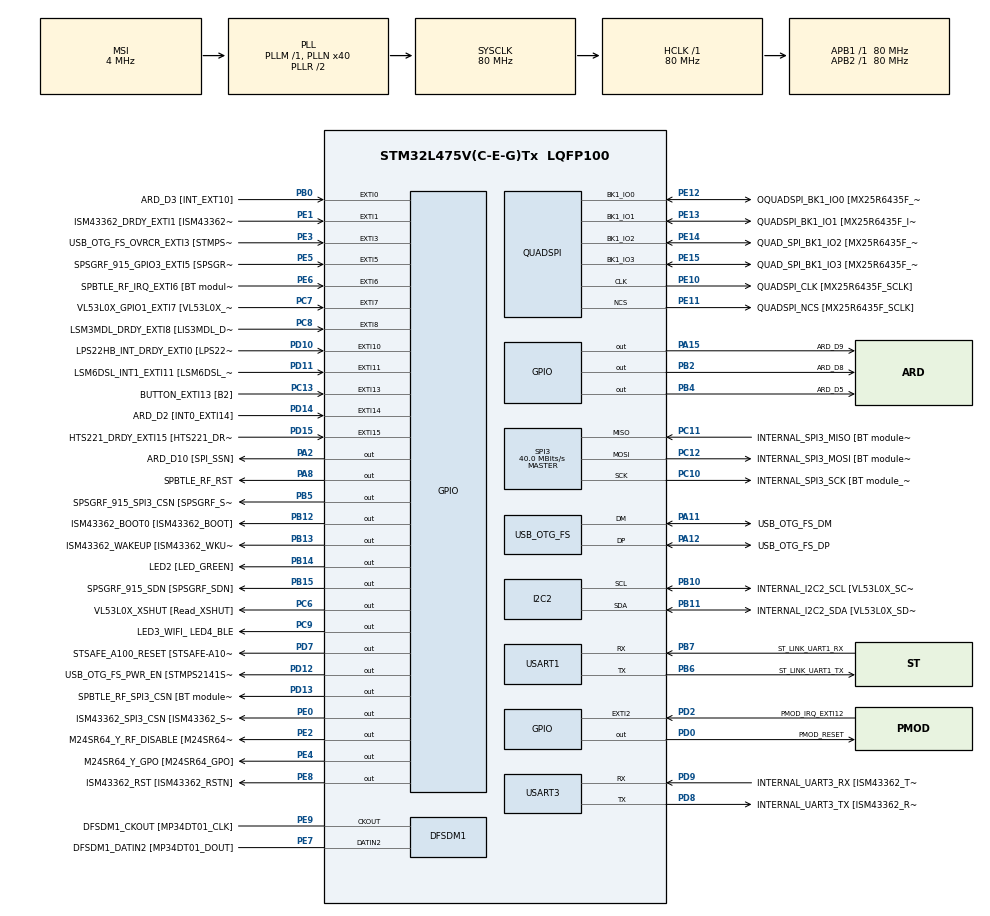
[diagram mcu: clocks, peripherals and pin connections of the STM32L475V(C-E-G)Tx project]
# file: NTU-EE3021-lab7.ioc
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Mcu.Family=STM32L4
Mcu.Name=STM32L475V(C-E-G)Tx
Mcu.Package=LQFP100
NVIC.EXTI15_10_IRQn=true\:0\:0\:false\:false\:true\:true\:true\:true
NVIC.EXTI9_5_IRQn=true\:0\:0\:false\:false\:true\:true\:true\:true
NVIC.PriorityGroup=NVIC_PRIORITYGROUP_4
PA0.GPIO_Label=ARD_D1 [UART4_TX]
PA0.Signal=UART4_TX
PA1.GPIO_Label=ARD_D0 [UART4_RX]
PA1.Signal=UART4_RX
PA10.GPIO_Label=USB_OTG_FS_ID
PA10.Signal=USB_OTG_FS_ID
PA11.GPIO_Label=USB_OTG_FS_DM
PA11.Mode=Device_Only
PA11.Signal=USB_OTG_FS_DM
PA12.GPIO_Label=USB_OTG_FS_DP
PA12.Mode=Device_Only
PA12.Signal=USB_OTG_FS_DP
PA13\ (JTMS-SWDIO).GPIO_Label=SYS_JTMS_SWDIO
PA13\ (JTMS-SWDIO).Mode=Serial_Wire
PA13\ (JTMS-SWDIO).Signal=SYS_JTMS-SWDIO
PA14\ (JTCK-SWCLK).GPIO_Label=SYS_JTCK_SWCLK
PA14\ (JTCK-SWCLK).Mode=Serial_Wire
PA14\ (JTCK-SWCLK).Signal=SYS_JTCK-SWCLK
PA15\ (JTDI).GPIO_Label=ARD_D9
PA15\ (JTDI).Signal=GPIO_Output
PA2.GPIO_Label=ARD_D10 [SPI_SSN]
PA2.Signal=GPIO_Output
PA3.GPIO_Label=ARD_D4
PA3.Signal=S_TIM2_CH4
PA4.GPIO_Label=ARD_D7
PA4.Signal=ADCx_IN9
PA5.GPIO_Label=ARD_D13 [SPI1_SCK]
PA5.Signal=SPI1_SCK
PA6.GPIO_Label=ARD_D12 [SPI1_MISO]
PA6.Signal=SPI1_MISO
PA7.GPIO_Label=ARD_D11 [SPI1_MOSI]
PA7.Signal=SPI1_MOSI
PA8.GPIO_Label=SPBTLE_RF_RST
PA8.Signal=GPIO_Output
PA9.GPIO_Label=USB_OTG_FS_VBUS [STMPS2141STR_OUT]
PA9.Signal=USB_OTG_FS_VBUS
PB0.GPIO_Label=ARD_D3 [INT_EXT10]
PB0.Signal=GPXTI0
PB1.GPIO_Label=ARD_D6 [ADC1_IN6]
PB1.Signal=ADCx_IN16
PB10.GPIO_Label=INTERNAL_I2C2_SCL [VL53L0X_SCL]
PB10.GPIO_Pu=GPIO_PULLUP
PB10.Mode=I2C
PB10.Signal=I2C2_SCL
PB11.GPIO_Label=INTERNAL_I2C2_SDA [VL53L0X_SDA]
PB11.GPIO_Pu=GPIO_PULLUP
PB11.Mode=I2C
PB11.Signal=I2C2_SDA
PB12.GPIO_Label=ISM43362_BOOT0 [ISM43362_BOOT]
PB12.Signal=GPIO_Output
PB13.GPIO_Label=ISM43362_WAKEUP [ISM43362_WKUP]
PB13.Signal=GPIO_Output
PB14.GPIO_Label=LED2 [LED_GREEN]
PB14.Signal=GPIO_Output
PB15.GPIO_Label=SPSGRF_915_SDN [SPSGRF_SDN]
PB15.Signal=GPIO_Output
PB2.GPIO_Label=ARD_D8
PB2.Signal=GPIO_Output
PB3\ (JTDO-TRACESWO).GPIO_Label=SYS_JTD0_SWO
PB3\ (JTDO-TRACESWO).Signal=SYS_JTDO-SWO
PB4\ (NJTRST).GPIO_Label=ARD_D5
PB4\ (NJTRST).Signal=GPIO_Output
PB5.GPIO_Label=SPSGRF_915_SPI3_CSN [SPSGRF_SPI_CS]
PB5.PinState=GPIO_PIN_SET
PB5.Signal=GPIO_Output
PB6.GPIO_Label=ST_LINK_UART1_TX
PB6.Mode=Asynchronous
PB6.Signal=USART1_TX
PB7.GPIO_Label=ST_LINK_UART1_RX
PB7.Mode=Asynchronous
PB7.Signal=USART1_RX
PB8.GPIO_Label=ARD_D15 [I2C1_SCL]
PB8.Signal=I2C1_SCL
PB9.GPIO_Label=ARD_D14 [I2C1_SDA]
PB9.Signal=I2C1_SDA
PC0.GPIO_Label=ARD_A5 [ADC]
PC0.Signal=ADCx_IN1
PC1.GPIO_Label=ARD_A4 [ADC]
PC1.Signal=ADCx_IN2
PC10.GPIO_Label=INTERNAL_SPI3_SCK [BT module_SPI_SCLK] [ISM43362_SCK]
PC10.Mode=Full_Duplex_Master
PC10.Signal=SPI3_SCK
PC11.GPIO_Label=INTERNAL_SPI3_MISO [BT module_SPI_MISO] [ISM43362_MISO]
PC11.Mode=Full_Duplex_Master
PC11.Signal=SPI3_MISO
PC12.GPIO_Label=INTERNAL_SPI3_MOSI [BT module_SPI_MOSI] [ISM43362_MOSI]
PC12.Mode=Full_Duplex_Master
PC12.Signal=SPI3_MOSI
PC13.GPIO_Label=BUTTON_EXTI13 [B2]
PC13.GPIO_ModeDefaultEXTI=GPIO_MODE_IT_FALLING
PC13.Signal=GPXTI13
PC14-OSC32_IN\ (PC14).Mode=LSE-External-Oscillator
PC14-OSC32_IN\ (PC14).Signal=RCC_OSC32_IN
PC15-OSC32_OUT\ (PC15).Mode=LSE-External-Oscillator
PC15-OSC32_OUT\ (PC15).Signal=RCC_OSC32_OUT
PC2.GPIO_Label=ARD_A3 [ADC]
PC2.Signal=ADCx_IN3
PC3.GPIO_Label=ARD_A2 [ADC]
PC3.Signal=ADCx_IN4
PC4.GPIO_Label=ARD_A1 [ADC]
PC4.Signal=ADCx_IN13
PC5.GPIO_Label=ARD_A0 [ADC]
PC5.Signal=ADCx_IN14
PC6.GPIO_Label=VL53L0X_XSHUT [Read_XSHUT]
PC6.Signal=GPIO_Output
PC7.GPIO_Label=VL53L0X_GPIO1_EXTI7 [VL53L0X_GPIO1]
PC7.Signal=GPXTI7
PC8.GPIO_Label=LSM3MDL_DRDY_EXTI8 [LIS3MDL_DRDY]
PC8.Signal=GPXTI8
PC9.GPIO_Label=LED3_WIFI_ LED4_BLE
PC9.Signal=GPIO_Output
PD0.GPIO_Label=PMOD_RESET
PD0.Signal=GPIO_Output
PD1.GPIO_Label=PMOD_SPI2_SCK
PD1.Signal=SPI2_SCK
PD10.GPIO_Label=LPS22HB_INT_DRDY_EXTI0 [LPS22HB_INT_DRDY] 
PD10.Signal=GPXTI10
PD11.GPIO_Label=LSM6DSL_INT1_EXTI11 [LSM6DSL_INT1]
PD11.Signal=GPXTI11
PD12.GPIO_Label=USB_OTG_FS_PWR_EN [STMPS2141STR_EN]
PD12.Signal=GPIO_Output
PD13.GPIO_Label=SPBTLE_RF_SPI3_CSN [BT module_SPI_CS]
PD13.PinState=GPIO_PIN_SET
PD13.Signal=GPIO_Output
PD14.GPIO_Label=ARD_D2 [INT0_EXTI14]
PD14.Signal=GPXTI14
PD15.GPIO_Label=HTS221_DRDY_EXTI15 [HTS221_DRDY]
PD15.Signal=GPXTI15
PD2.GPIO_Label=PMOD_IRQ_EXTI12
PD2.Signal=GPXTI2
PD3.GPIO_Label=PMOD_UART2_CTS
PD3.Signal=USART2_CTS
PD4.GPIO_Label=PMOD_UART2_RTS
PD4.Signal=USART2_RTS
PD5.GPIO_Label=PMOD_UART2_TX
PD5.Signal=USART2_TX
PD6.GPIO_Label=PMOD_UART2_RX
PD6.Signal=USART2_RX
PD7.GPIO_Label=STSAFE_A100_RESET [STSAFE-A100_RESET]
PD7.Signal=GPIO_Output
PD8.GPIO_Label=INTERNAL_UART3_TX [ISM43362_RX]
PD8.Mode=Asynchronous
PD8.Signal=USART3_TX
PD9.GPIO_Label=INTERNAL_UART3_RX [ISM43362_TX]
PD9.Mode=Asynchronous
PD9.Signal=USART3_RX
PE0.GPIO_Label=ISM43362_SPI3_CSN [ISM43362_SSN]
PE0.PinState=GPIO_PIN_SET
PE0.Signal=GPIO_Output
PE1.GPIO_Label=ISM43362_DRDY_EXTI1 [ISM43362_DATARDY]
PE1.Signal=GPXTI1
PE10.GPIO_Label=QUADSPI_CLK [MX25R6435F_SCLK]
PE10.Mode=Single Bank
PE10.Signal=QUADSPI_CLK
PE11.GPIO_Label=QUADSPI_NCS [MX25R6435F_SCLK]
PE11.Mode=Single Bank
PE11.Signal=QUADSPI_NCS
PE12.GPIO_Label=OQUADSPI_BK1_IO0 [MX25R6435F_IO0]
PE12.Mode=Single Bank
PE12.Signal=QUADSPI_BK1_IO0
PE13.GPIO_Label=QUADSPI_BK1_IO1 [MX25R6435F_IO1]
PE13.Mode=Single Bank
PE13.Signal=QUADSPI_BK1_IO1
PE14.GPIO_Label=QUAD_SPI_BK1_IO2 [MX25R6435F_IO2]
PE14.Mode=Single Bank
PE14.Signal=QUADSPI_BK1_IO2
PE15.GPIO_Label=QUAD_SPI_BK1_IO3 [MX25R6435F_IO3]
PE15.Mode=Single Bank
PE15.Signal=QUADSPI_BK1_IO3
PE2.GPIO_Label=M24SR64_Y_RF_DISABLE [M24SR64_RFDIS]
PE2.Signal=GPIO_Output
PE3.GPIO_Label=USB_OTG_FS_OVRCR_EXTI3 [STMPS2141STR_FAULT]
PE3.Signal=GPXTI3
PE4.GPIO_Label=M24SR64_Y_GPO [M24SR64_GPO]
PE4.Signal=GPIO_Output
PE5.GPIO_Label=SPSGRF_915_GPIO3_EXTI5 [SPSGRF_GPIO_3]
PE5.Signal=GPXTI5
PE6.GPIO_Label=SPBTLE_RF_IRQ_EXTI6 [BT module_SPI_IRQ]
PE6.Signal=GPXTI6
PE7.GPIO_Label=DFSDM1_DATIN2 [MP34DT01_DOUT]
PE7.Signal=S_DATAIN2DFSDM1
PE8.GPIO_Label=ISM43362_RST [ISM43362_RSTN]
PE8.Signal=GPIO_Output
PE9.GPIO_Label=DFSDM1_CKOUT [MP34DT01_CLK]
PE9.Signal=S_CKOUTDFSDM1
ProjectManager.HeapSize=0x200
ProjectManager.StackSize=0x400
ProjectManager.TargetToolchain=STM32CubeIDE
QUADSPI.ClockPrescaler=2
QUADSPI.FifoThreshold=4
QUADSPI.FlashSize=23
QUADSPI.SampleShifting=QSPI_SAMPLE_SHIFTING_HALFCYCLE
RCC.ADCFreq_Value=48000000
RCC.AHBFreq_Value=80000000
RCC.APB1Freq_Value=80000000
RCC.APB1TimFreq_Value=80000000
RCC.APB2Freq_Value=80000000
RCC.APB2TimFreq_Value=80000000
RCC.CortexFreq_Value=80000000
RCC.HCLKFreq_Value=80000000
RCC.HSE_VALUE=8000000
RCC.HSI_VALUE=16000000
RCC.MSI_VALUE=4000000
RCC.PLLN=40
RCC.PLLSAI1N=24
RCC.SYSCLKFreq_VALUE=80000000
RCC.SYSCLKSource=RCC_SYSCLKSOURCE_PLLCLK
RCC.USBFreq_Value=48000000
RCC.VCOOutputFreq_Value=160000000
SH.ADCx_IN1.0=ADC1_IN1
SH.ADCx_IN13.0=ADC1_IN13
SH.ADCx_IN14.0=ADC1_IN14
SH.ADCx_IN16.0=ADC1_IN16
SH.ADCx_IN2.0=ADC1_IN2
SH.ADCx_IN3.0=ADC1_IN3
SH.ADCx_IN4.0=ADC1_IN4
SH.ADCx_IN9.0=ADC1_IN9
SH.S_CKOUTDFSDM1.0=DFSDM1_CKOUT,CKOUT
SH.S_CKOUTDFSDM1.1=DFSDM1_CKOUT,PDM_SPI_Input_from_ch12_and_Internal_Clock
SH.S_DATAIN2DFSDM1.0=DFSDM1_DATIN2,PDM_SPI_Input_from_ch12_and_Internal_Clock
SH.S_TIM2_CH4.0=TIM2_CH4
SPI3.CalculateBaudRate=40.0 MBits/s
SPI3.Direction=SPI_DIRECTION_2LINES
SPI3.Mode=SPI_MODE_MASTER
SPI3.VirtualType=VM_MASTER
USART1.VirtualMode-Asynchronous=VM_ASYNC
USART3.VirtualMode-Asynchronous=VM_ASYNC
USB_OTG_FS.VirtualMode=Device_Only
board=B-L475E-IOT01A1

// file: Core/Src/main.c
/* USER CODE BEGIN Header */
/**
  ******************************************************************************
  * @file           : main.c
  * @brief          : Main program body
  ******************************************************************************
  * @attention
  *
  * Copyright (c) 2025 STMicroelectronics.
  * All rights reserved.
  *
  * This software is licensed under terms that can be found in the LICENSE file
  * in the root directory of this software component.
  * If no LICENSE file comes with this software, it is provided AS-IS.
  *
  ******************************************************************************
  */
/* USER CODE END Header */
#include "main.h"
#include "arm_math.h"
#include "math_helper.h"

DFSDM_Channel_HandleTypeDef hdfsdm1_channel1;

I2C_HandleTypeDef hi2c2;

QSPI_HandleTypeDef hqspi;

SPI_HandleTypeDef hspi3;

UART_HandleTypeDef huart1;
UART_HandleTypeDef huart3;

PCD_HandleTypeDef hpcd_USB_OTG_FS;

void SystemClock_Config(void);
static void MX_GPIO_Init(void);
static void MX_DFSDM1_Init(void);
static void MX_I2C2_Init(void);
static void MX_QUADSPI_Init(void);
static void MX_SPI3_Init(void);
static void MX_USART1_UART_Init(void);
static void MX_USART3_UART_Init(void);
static void MX_USB_OTG_FS_PCD_Init(void);

/* USER CODE BEGIN 0 */

/* ----------------------------------------------------------------------
** Macro Defines
** ------------------------------------------------------------------- */

#define TEST_LENGTH_SAMPLES  320
#define SNR_THRESHOLD_F32    140.0f
#define BLOCK_SIZE            32
#define NUM_TAPS              29

/* -------------------------------------------------------------------
 * The input signal and reference output (computed with MATLAB)
 * are defined externally in arm_fir_lpf_data.c.
 * ------------------------------------------------------------------- */

extern float32_t testInput_f32_1kHz_15kHz[TEST_LENGTH_SAMPLES];
extern float32_t refOutput[TEST_LENGTH_SAMPLES];

/* -------------------------------------------------------------------
 * Declare Test output buffer
 * ------------------------------------------------------------------- */

static float32_t testOutput[TEST_LENGTH_SAMPLES];

/* -------------------------------------------------------------------
 * Declare State buffer of size (numTaps + blockSize - 1)
 * ------------------------------------------------------------------- */

static float32_t firStateF32[BLOCK_SIZE + NUM_TAPS - 1];

/* ----------------------------------------------------------------------
** FIR Coefficients buffer generated using fir1() MATLAB function.
** fir1(28, 6/24)
** ------------------------------------------------------------------- */

const float32_t firCoeffs32[NUM_TAPS] = {
  -0.0018225230f, -0.0015879294f, +0.0000000000f, +0.0036977508f, +0.0080754303f, +0.0085302217f, -0.0000000000f, -0.0173976984f,
  -0.0341458607f, -0.0333591565f, +0.0000000000f, +0.0676308395f, +0.1522061835f, +0.2229246956f, +0.2504960933f, +0.2229246956f,
  +0.1522061835f, +0.0676308395f, +0.0000000000f, -0.0333591565f, -0.0341458607f, -0.0173976984f, -0.0000000000f, +0.0085302217f,
  +0.0080754303f, +0.0036977508f, +0.0000000000f, -0.0015879294f, -0.0018225230f
};

/* ------------------------------------------------------------------
 * Global variables for FIR LPF Example
 * ------------------------------------------------------------------- */

uint32_t blockSize = BLOCK_SIZE;
uint32_t numBlocks = TEST_LENGTH_SAMPLES/BLOCK_SIZE;

float32_t  snr;

/* USER CODE END 0 */
int __io_putchar(int ch)
{
HAL_UART_Transmit(&huart1, (uint8_t *)&ch, 1, 0xFFFF);
return ch;
}
int main(void)
{

  /* MCU Configuration--------------------------------------------------------*/

  /* Reset of all peripherals, Initializes the Flash interface and the Systick. */
  HAL_Init();

  /* Configure the system clock */
  SystemClock_Config();

  /* Initialize all configured peripherals */
  MX_GPIO_Init();
  MX_DFSDM1_Init();
  MX_I2C2_Init();
  MX_QUADSPI_Init();
  MX_SPI3_Init();
  MX_USART1_UART_Init();
  MX_USART3_UART_Init();
  MX_USB_OTG_FS_PCD_Init();
  BSP_ACCELERO_Init();
  /* USER CODE BEGIN 2 */

  uint32_t i;
  arm_fir_instance_f32 S;
  arm_status status;
  float32_t  *inputF32, *outputF32;

  int16_t data[3];
  int32_t index = 0;
  while (1) {

	  BSP_ACCELERO_AccGetXYZ(&data[0]);

	  testInput_f32_1kHz_15kHz[index++] = (float32_t)data[0];

	  printf("%d = (%d, %d, %d) - %f\n", index, data[0], data[1], data[2], testInput_f32_1kHz_15kHz[index-1]);
	  HAL_Delay(10);

	  if (index == TEST_LENGTH_SAMPLES) break;
  }

  /* Initialize input and output buffer pointers */
  inputF32 = &testInput_f32_1kHz_15kHz[0];
  outputF32 = &testOutput[0];

  /* Call FIR init function to initialize the instance structure. */
  arm_fir_init_f32(&S, NUM_TAPS, (float32_t *)&firCoeffs32[0], &firStateF32[0], blockSize);

  printf("\nOutput: \n");
  for (i=0; i<TEST_LENGTH_SAMPLES; i++) {
	  printf("%f ", testOutput[0]);
  }

  /* USER CODE END 2 */

  /* Infinite loop */
//	  printf("Hello\n");
//	  HAL_Delay(100);

	  /* ----------------------------------------------------------------------
	  ** Call the FIR process function for every blockSize samples
	  ** ------------------------------------------------------------------- */

	  for(i=0; i < numBlocks; i++)
	  {
	    arm_fir_f32(&S, inputF32 + (i * blockSize), outputF32 + (i * blockSize), blockSize);
	  }

	  printf("Input: \n");
	  for (i=0; i<TEST_LENGTH_SAMPLES; i++) {
		  printf("%f, ", testInput_f32_1kHz_15kHz[i]);
	  }

	  printf("\nOutput: \n");
	  for (i=0; i<TEST_LENGTH_SAMPLES; i++) {
		  printf("%f, ", testOutput[i]);
	  }
	  printf("\nFinished.\n");

	  /* ----------------------------------------------------------------------
	  ** Compare the generated output against the reference output computed
	  ** in MATLAB.
	  ** ------------------------------------------------------------------- */

//	  snr = arm_snr_f32(&refOutput[0], &testOutput[0], TEST_LENGTH_SAMPLES);
//
//	  if (snr < SNR_THRESHOLD_F32)
//	  {
//	    status = ARM_MATH_TEST_FAILURE;
//	    printf("Fail.\n");
//	  }
//	  else
//	  {
//	    status = ARM_MATH_SUCCESS;
//	    printf("Success.\n");
//	  }

//	  int16_t data[3];
//
//	  while (1) {
//		  BSP_ACCELERO_AccGetXYZ(&data[0]);
//
//		  printf("%d, %d, %d\n", data[0], data[1], data[2]);
//		  HAL_Delay(200);
//	  }

	  /* ----------------------------------------------------------------------
	  ** Loop here if the signal does not match the reference output.
	  ** ------------------------------------------------------------------- */

//	  if ( status != ARM_MATH_SUCCESS)
//	  {
//	    while (1);
//	  }
//
//	  while (1);                             /* main function does not return */

  /* USER CODE END 3 */
}

void SystemClock_Config(void)
{
  RCC_OscInitTypeDef RCC_OscInitStruct = {0};
  RCC_ClkInitTypeDef RCC_ClkInitStruct = {0};

  /** Configure the main internal regulator output voltage
  */
  if (HAL_PWREx_ControlVoltageScaling(PWR_REGULATOR_VOLTAGE_SCALE1) != HAL_OK)
  {
    Error_Handler();
  }

  /** Configure LSE Drive Capability
  */
  HAL_PWR_EnableBkUpAccess();
  __HAL_RCC_LSEDRIVE_CONFIG(RCC_LSEDRIVE_LOW);

  /** Initializes the RCC Oscillators according to the specified parameters
  * in the RCC_OscInitTypeDef structure.
  */
  RCC_OscInitStruct.OscillatorType = RCC_OSCILLATORTYPE_LSE|RCC_OSCILLATORTYPE_MSI;
  RCC_OscInitStruct.LSEState = RCC_LSE_ON;
  RCC_OscInitStruct.MSIState = RCC_MSI_ON;
  RCC_OscInitStruct.MSICalibrationValue = 0;
  RCC_OscInitStruct.MSIClockRange = RCC_MSIRANGE_6;
  RCC_OscInitStruct.PLL.PLLState = RCC_PLL_ON;
  RCC_OscInitStruct.PLL.PLLSource = RCC_PLLSOURCE_MSI;
  RCC_OscInitStruct.PLL.PLLM = 1;
  RCC_OscInitStruct.PLL.PLLN = 40;
  RCC_OscInitStruct.PLL.PLLP = RCC_PLLP_DIV7;
  RCC_OscInitStruct.PLL.PLLQ = RCC_PLLQ_DIV2;
  RCC_OscInitStruct.PLL.PLLR = RCC_PLLR_DIV2;
  if (HAL_RCC_OscConfig(&RCC_OscInitStruct) != HAL_OK)
  {
    Error_Handler();
  }

  /** Initializes the CPU, AHB and APB buses clocks
  */
  RCC_ClkInitStruct.ClockType = RCC_CLOCKTYPE_HCLK|RCC_CLOCKTYPE_SYSCLK
                              |RCC_CLOCKTYPE_PCLK1|RCC_CLOCKTYPE_PCLK2;
  RCC_ClkInitStruct.SYSCLKSource = RCC_SYSCLKSOURCE_PLLCLK;
  RCC_ClkInitStruct.AHBCLKDivider = RCC_SYSCLK_DIV1;
  RCC_ClkInitStruct.APB1CLKDivider = RCC_HCLK_DIV1;
  RCC_ClkInitStruct.APB2CLKDivider = RCC_HCLK_DIV1;

  if (HAL_RCC_ClockConfig(&RCC_ClkInitStruct, FLASH_LATENCY_4) != HAL_OK)
  {
    Error_Handler();
  }

  /** Enable MSI Auto calibration
  */
  HAL_RCCEx_EnableMSIPLLMode();
}

static void MX_DFSDM1_Init(void)
{

  hdfsdm1_channel1.Instance = DFSDM1_Channel1;
  hdfsdm1_channel1.Init.OutputClock.Activation = ENABLE;
  hdfsdm1_channel1.Init.OutputClock.Selection = DFSDM_CHANNEL_OUTPUT_CLOCK_SYSTEM;
  hdfsdm1_channel1.Init.OutputClock.Divider = 2;
  hdfsdm1_channel1.Init.Input.Multiplexer = DFSDM_CHANNEL_EXTERNAL_INPUTS;
  hdfsdm1_channel1.Init.Input.DataPacking = DFSDM_CHANNEL_STANDARD_MODE;
  hdfsdm1_channel1.Init.Input.Pins = DFSDM_CHANNEL_FOLLOWING_CHANNEL_PINS;
  hdfsdm1_channel1.Init.SerialInterface.Type = DFSDM_CHANNEL_SPI_RISING;
  hdfsdm1_channel1.Init.SerialInterface.SpiClock = DFSDM_CHANNEL_SPI_CLOCK_INTERNAL;
  hdfsdm1_channel1.Init.Awd.FilterOrder = DFSDM_CHANNEL_FASTSINC_ORDER;
  hdfsdm1_channel1.Init.Awd.Oversampling = 1;
  hdfsdm1_channel1.Init.Offset = 0;
  hdfsdm1_channel1.Init.RightBitShift = 0x00;
  if (HAL_DFSDM_ChannelInit(&hdfsdm1_channel1) != HAL_OK)
  {
    Error_Handler();
  }

}

static void MX_I2C2_Init(void)
{

  hi2c2.Instance = I2C2;
  hi2c2.Init.Timing = 0x00000E14;
  hi2c2.Init.OwnAddress1 = 0;
  hi2c2.Init.AddressingMode = I2C_ADDRESSINGMODE_7BIT;
  hi2c2.Init.DualAddressMode = I2C_DUALADDRESS_DISABLE;
  hi2c2.Init.OwnAddress2 = 0;
  hi2c2.Init.OwnAddress2Masks = I2C_OA2_NOMASK;
  hi2c2.Init.GeneralCallMode = I2C_GENERALCALL_DISABLE;
  hi2c2.Init.NoStretchMode = I2C_NOSTRETCH_DISABLE;
  if (HAL_I2C_Init(&hi2c2) != HAL_OK)
  {
    Error_Handler();
  }

  /** Configure Analogue filter
  */
  if (HAL_I2CEx_ConfigAnalogFilter(&hi2c2, I2C_ANALOGFILTER_ENABLE) != HAL_OK)
  {
    Error_Handler();
  }

  /** Configure Digital filter
  */
  if (HAL_I2CEx_ConfigDigitalFilter(&hi2c2, 0) != HAL_OK)
  {
    Error_Handler();
  }

}

static void MX_QUADSPI_Init(void)
{

  /* QUADSPI parameter configuration*/
  hqspi.Instance = QUADSPI;
  hqspi.Init.ClockPrescaler = 2;
  hqspi.Init.FifoThreshold = 4;
  hqspi.Init.SampleShifting = QSPI_SAMPLE_SHIFTING_HALFCYCLE;
  hqspi.Init.FlashSize = 23;
  hqspi.Init.ChipSelectHighTime = QSPI_CS_HIGH_TIME_1_CYCLE;
  hqspi.Init.ClockMode = QSPI_CLOCK_MODE_0;
  if (HAL_QSPI_Init(&hqspi) != HAL_OK)
  {
    Error_Handler();
  }

}

static void MX_SPI3_Init(void)
{

  /* SPI3 parameter configuration*/
  hspi3.Instance = SPI3;
  hspi3.Init.Mode = SPI_MODE_MASTER;
  hspi3.Init.Direction = SPI_DIRECTION_2LINES;
  hspi3.Init.DataSize = SPI_DATASIZE_4BIT;
  hspi3.Init.CLKPolarity = SPI_POLARITY_LOW;
  hspi3.Init.CLKPhase = SPI_PHASE_1EDGE;
  hspi3.Init.NSS = SPI_NSS_SOFT;
  hspi3.Init.BaudRatePrescaler = SPI_BAUDRATEPRESCALER_2;
  hspi3.Init.FirstBit = SPI_FIRSTBIT_MSB;
  hspi3.Init.TIMode = SPI_TIMODE_DISABLE;
  hspi3.Init.CRCCalculation = SPI_CRCCALCULATION_DISABLE;
  hspi3.Init.CRCPolynomial = 7;
  hspi3.Init.CRCLength = SPI_CRC_LENGTH_DATASIZE;
  hspi3.Init.NSSPMode = SPI_NSS_PULSE_ENABLE;
  if (HAL_SPI_Init(&hspi3) != HAL_OK)
  {
    Error_Handler();
  }

}

static void MX_USART1_UART_Init(void)
{

  huart1.Instance = USART1;
  huart1.Init.BaudRate = 115200;
  huart1.Init.WordLength = UART_WORDLENGTH_8B;
  huart1.Init.StopBits = UART_STOPBITS_1;
  huart1.Init.Parity = UART_PARITY_NONE;
  huart1.Init.Mode = UART_MODE_TX_RX;
  huart1.Init.HwFlowCtl = UART_HWCONTROL_NONE;
  huart1.Init.OverSampling = UART_OVERSAMPLING_16;
  huart1.Init.OneBitSampling = UART_ONE_BIT_SAMPLE_DISABLE;
  huart1.AdvancedInit.AdvFeatureInit = UART_ADVFEATURE_NO_INIT;
  if (HAL_UART_Init(&huart1) != HAL_OK)
  {
    Error_Handler();
  }

}

static void MX_USART3_UART_Init(void)
{

  huart3.Instance = USART3;
  huart3.Init.BaudRate = 115200;
  huart3.Init.WordLength = UART_WORDLENGTH_8B;
  huart3.Init.StopBits = UART_STOPBITS_1;
  huart3.Init.Parity = UART_PARITY_NONE;
  huart3.Init.Mode = UART_MODE_TX_RX;
  huart3.Init.HwFlowCtl = UART_HWCONTROL_NONE;
  huart3.Init.OverSampling = UART_OVERSAMPLING_16;
  huart3.Init.OneBitSampling = UART_ONE_BIT_SAMPLE_DISABLE;
  huart3.AdvancedInit.AdvFeatureInit = UART_ADVFEATURE_NO_INIT;
  if (HAL_UART_Init(&huart3) != HAL_OK)
  {
    Error_Handler();
  }

}

static void MX_USB_OTG_FS_PCD_Init(void)
{

  hpcd_USB_OTG_FS.Instance = USB_OTG_FS;
  hpcd_USB_OTG_FS.Init.dev_endpoints = 6;
  hpcd_USB_OTG_FS.Init.speed = PCD_SPEED_FULL;
  hpcd_USB_OTG_FS.Init.phy_itface = PCD_PHY_EMBEDDED;
  hpcd_USB_OTG_FS.Init.Sof_enable = DISABLE;
  hpcd_USB_OTG_FS.Init.low_power_enable = DISABLE;
  hpcd_USB_OTG_FS.Init.lpm_enable = DISABLE;
  hpcd_USB_OTG_FS.Init.battery_charging_enable = DISABLE;
  hpcd_USB_OTG_FS.Init.use_dedicated_ep1 = DISABLE;
  hpcd_USB_OTG_FS.Init.vbus_sensing_enable = DISABLE;
  if (HAL_PCD_Init(&hpcd_USB_OTG_FS) != HAL_OK)
  {
    Error_Handler();
  }

}

static void MX_GPIO_Init(void)
{
  GPIO_InitTypeDef GPIO_InitStruct = {0};

  /* GPIO Ports Clock Enable */
  __HAL_RCC_GPIOE_CLK_ENABLE();
  __HAL_RCC_GPIOC_CLK_ENABLE();
  __HAL_RCC_GPIOA_CLK_ENABLE();
  __HAL_RCC_GPIOB_CLK_ENABLE();
  __HAL_RCC_GPIOD_CLK_ENABLE();

  /*Configure GPIO pin Output Level */
  HAL_GPIO_WritePin(GPIOE, M24SR64_Y_RF_DISABLE_Pin|M24SR64_Y_GPO_Pin|ISM43362_RST_Pin, GPIO_PIN_RESET);

  /*Configure GPIO pin Output Level */
  HAL_GPIO_WritePin(GPIOA, ARD_D10_Pin|SPBTLE_RF_RST_Pin|ARD_D9_Pin, GPIO_PIN_RESET);

  /*Configure GPIO pin Output Level */
  HAL_GPIO_WritePin(GPIOB, ARD_D8_Pin|ISM43362_BOOT0_Pin|ISM43362_WAKEUP_Pin|LED2_Pin
                          |SPSGRF_915_SDN_Pin|ARD_D5_Pin, GPIO_PIN_RESET);

  /*Configure GPIO pin Output Level */
  HAL_GPIO_WritePin(GPIOD, USB_OTG_FS_PWR_EN_Pin|PMOD_RESET_Pin|STSAFE_A100_RESET_Pin, GPIO_PIN_RESET);

  /*Configure GPIO pin Output Level */
  HAL_GPIO_WritePin(SPBTLE_RF_SPI3_CSN_GPIO_Port, SPBTLE_RF_SPI3_CSN_Pin, GPIO_PIN_SET);

  /*Configure GPIO pin Output Level */
  HAL_GPIO_WritePin(GPIOC, VL53L0X_XSHUT_Pin|LED3_WIFI__LED4_BLE_Pin, GPIO_PIN_RESET);

  /*Configure GPIO pin Output Level */
  HAL_GPIO_WritePin(SPSGRF_915_SPI3_CSN_GPIO_Port, SPSGRF_915_SPI3_CSN_Pin, GPIO_PIN_SET);

  /*Configure GPIO pin Output Level */
  HAL_GPIO_WritePin(ISM43362_SPI3_CSN_GPIO_Port, ISM43362_SPI3_CSN_Pin, GPIO_PIN_SET);

  /*Configure GPIO pins : M24SR64_Y_RF_DISABLE_Pin M24SR64_Y_GPO_Pin ISM43362_RST_Pin ISM43362_SPI3_CSN_Pin */
  GPIO_InitStruct.Pin = M24SR64_Y_RF_DISABLE_Pin|M24SR64_Y_GPO_Pin|ISM43362_RST_Pin|ISM43362_SPI3_CSN_Pin;
  GPIO_InitStruct.Mode = GPIO_MODE_OUTPUT_PP;
  GPIO_InitStruct.Pull = GPIO_NOPULL;
  GPIO_InitStruct.Speed = GPIO_SPEED_FREQ_LOW;
  HAL_GPIO_Init(GPIOE, &GPIO_InitStruct);

  /*Configure GPIO pins : USB_OTG_FS_OVRCR_EXTI3_Pin SPSGRF_915_GPIO3_EXTI5_Pin SPBTLE_RF_IRQ_EXTI6_Pin ISM43362_DRDY_EXTI1_Pin */
  GPIO_InitStruct.Pin = USB_OTG_FS_OVRCR_EXTI3_Pin|SPSGRF_915_GPIO3_EXTI5_Pin|SPBTLE_RF_IRQ_EXTI6_Pin|ISM43362_DRDY_EXTI1_Pin;
  GPIO_InitStruct.Mode = GPIO_MODE_IT_RISING;
  GPIO_InitStruct.Pull = GPIO_NOPULL;
  HAL_GPIO_Init(GPIOE, &GPIO_InitStruct);

  /*Configure GPIO pin : BUTTON_EXTI13_Pin */
  GPIO_InitStruct.Pin = BUTTON_EXTI13_Pin;
  GPIO_InitStruct.Mode = GPIO_MODE_IT_FALLING;
  GPIO_InitStruct.Pull = GPIO_NOPULL;
  HAL_GPIO_Init(BUTTON_EXTI13_GPIO_Port, &GPIO_InitStruct);

  /*Configure GPIO pins : ARD_A5_Pin ARD_A4_Pin ARD_A3_Pin ARD_A2_Pin
                           ARD_A1_Pin ARD_A0_Pin */
  GPIO_InitStruct.Pin = ARD_A5_Pin|ARD_A4_Pin|ARD_A3_Pin|ARD_A2_Pin
                          |ARD_A1_Pin|ARD_A0_Pin;
  GPIO_InitStruct.Mode = GPIO_MODE_ANALOG_ADC_CONTROL;
  GPIO_InitStruct.Pull = GPIO_NOPULL;
  HAL_GPIO_Init(GPIOC, &GPIO_InitStruct);

  /*Configure GPIO pins : ARD_D1_Pin ARD_D0_Pin */
  GPIO_InitStruct.Pin = ARD_D1_Pin|ARD_D0_Pin;
  GPIO_InitStruct.Mode = GPIO_MODE_AF_PP;
  GPIO_InitStruct.Pull = GPIO_NOPULL;
  GPIO_InitStruct.Speed = GPIO_SPEED_FREQ_VERY_HIGH;
  GPIO_InitStruct.Alternate = GPIO_AF8_UART4;
  HAL_GPIO_Init(GPIOA, &GPIO_InitStruct);

  /*Configure GPIO pins : ARD_D10_Pin SPBTLE_RF_RST_Pin ARD_D9_Pin */
  GPIO_InitStruct.Pin = ARD_D10_Pin|SPBTLE_RF_RST_Pin|ARD_D9_Pin;
  GPIO_InitStruct.Mode = GPIO_MODE_OUTPUT_PP;
  GPIO_InitStruct.Pull = GPIO_NOPULL;
  GPIO_InitStruct.Speed = GPIO_SPEED_FREQ_LOW;
  HAL_GPIO_Init(GPIOA, &GPIO_InitStruct);

  /*Configure GPIO pin : ARD_D4_Pin */
  GPIO_InitStruct.Pin = ARD_D4_Pin;
  GPIO_InitStruct.Mode = GPIO_MODE_AF_PP;
  GPIO_InitStruct.Pull = GPIO_NOPULL;
  GPIO_InitStruct.Speed = GPIO_SPEED_FREQ_LOW;
  GPIO_InitStruct.Alternate = GPIO_AF1_TIM2;
  HAL_GPIO_Init(ARD_D4_GPIO_Port, &GPIO_InitStruct);

  /*Configure GPIO pin : ARD_D7_Pin */
  GPIO_InitStruct.Pin = ARD_D7_Pin;
  GPIO_InitStruct.Mode = GPIO_MODE_ANALOG_ADC_CONTROL;
  GPIO_InitStruct.Pull = GPIO_NOPULL;
  HAL_GPIO_Init(ARD_D7_GPIO_Port, &GPIO_InitStruct);

  /*Configure GPIO pins : ARD_D13_Pin ARD_D12_Pin ARD_D11_Pin */
  GPIO_InitStruct.Pin = ARD_D13_Pin|ARD_D12_Pin|ARD_D11_Pin;
  GPIO_InitStruct.Mode = GPIO_MODE_AF_PP;
  GPIO_InitStruct.Pull = GPIO_NOPULL;
  GPIO_InitStruct.Speed = GPIO_SPEED_FREQ_VERY_HIGH;
  GPIO_InitStruct.Alternate = GPIO_AF5_SPI1;
  HAL_GPIO_Init(GPIOA, &GPIO_InitStruct);

  /*Configure GPIO pin : ARD_D3_Pin */
  GPIO_InitStruct.Pin = ARD_D3_Pin;
  GPIO_InitStruct.Mode = GPIO_MODE_IT_RISING;
  GPIO_InitStruct.Pull = GPIO_NOPULL;
  HAL_GPIO_Init(ARD_D3_GPIO_Port, &GPIO_InitStruct);

  /*Configure GPIO pin : ARD_D6_Pin */
  GPIO_InitStruct.Pin = ARD_D6_Pin;
  GPIO_InitStruct.Mode = GPIO_MODE_ANALOG_ADC_CONTROL;
  GPIO_InitStruct.Pull = GPIO_NOPULL;
  HAL_GPIO_Init(ARD_D6_GPIO_Port, &GPIO_InitStruct);

  /*Configure GPIO pins : ARD_D8_Pin ISM43362_BOOT0_Pin ISM43362_WAKEUP_Pin LED2_Pin
                           SPSGRF_915_SDN_Pin ARD_D5_Pin SPSGRF_915_SPI3_CSN_Pin */
  GPIO_InitStruct.Pin = ARD_D8_Pin|ISM43362_BOOT0_Pin|ISM43362_WAKEUP_Pin|LED2_Pin
                          |SPSGRF_915_SDN_Pin|ARD_D5_Pin|SPSGRF_915_SPI3_CSN_Pin;
  GPIO_InitStruct.Mode = GPIO_MODE_OUTPUT_PP;
  GPIO_InitStruct.Pull = GPIO_NOPULL;
  GPIO_InitStruct.Speed = GPIO_SPEED_FREQ_LOW;
  HAL_GPIO_Init(GPIOB, &GPIO_InitStruct);

  /*Configure GPIO pins : LPS22HB_INT_DRDY_EXTI0_Pin LSM6DSL_INT1_EXTI11_Pin ARD_D2_Pin HTS221_DRDY_EXTI15_Pin
                           PMOD_IRQ_EXTI12_Pin */
  GPIO_InitStruct.Pin = LPS22HB_INT_DRDY_EXTI0_Pin|LSM6DSL_INT1_EXTI11_Pin|ARD_D2_Pin|HTS221_DRDY_EXTI15_Pin
                          |PMOD_IRQ_EXTI12_Pin;
  GPIO_InitStruct.Mode = GPIO_MODE_IT_RISING;
  GPIO_InitStruct.Pull = GPIO_NOPULL;
  HAL_GPIO_Init(GPIOD, &GPIO_InitStruct);

  /*Configure GPIO pins : USB_OTG_FS_PWR_EN_Pin SPBTLE_RF_SPI3_CSN_Pin PMOD_RESET_Pin STSAFE_A100_RESET_Pin */
  GPIO_InitStruct.Pin = USB_OTG_FS_PWR_EN_Pin|SPBTLE_RF_SPI3_CSN_Pin|PMOD_RESET_Pin|STSAFE_A100_RESET_Pin;
  GPIO_InitStruct.Mode = GPIO_MODE_OUTPUT_PP;
  GPIO_InitStruct.Pull = GPIO_NOPULL;
  GPIO_InitStruct.Speed = GPIO_SPEED_FREQ_LOW;
  HAL_GPIO_Init(GPIOD, &GPIO_InitStruct);

  /*Configure GPIO pins : VL53L0X_XSHUT_Pin LED3_WIFI__LED4_BLE_Pin */
  GPIO_InitStruct.Pin = VL53L0X_XSHUT_Pin|LED3_WIFI__LED4_BLE_Pin;
  GPIO_InitStruct.Mode = GPIO_MODE_OUTPUT_PP;
  GPIO_InitStruct.Pull = GPIO_NOPULL;
  GPIO_InitStruct.Speed = GPIO_SPEED_FREQ_LOW;
  HAL_GPIO_Init(GPIOC, &GPIO_InitStruct);

  /*Configure GPIO pins : VL53L0X_GPIO1_EXTI7_Pin LSM3MDL_DRDY_EXTI8_Pin */
  GPIO_InitStruct.Pin = VL53L0X_GPIO1_EXTI7_Pin|LSM3MDL_DRDY_EXTI8_Pin;
  GPIO_InitStruct.Mode = GPIO_MODE_IT_RISING;
  GPIO_InitStruct.Pull = GPIO_NOPULL;
  HAL_GPIO_Init(GPIOC, &GPIO_InitStruct);

  /*Configure GPIO pin : PMOD_SPI2_SCK_Pin */
  GPIO_InitStruct.Pin = PMOD_SPI2_SCK_Pin;
  GPIO_InitStruct.Mode = GPIO_MODE_AF_PP;
  GPIO_InitStruct.Pull = GPIO_NOPULL;
  GPIO_InitStruct.Speed = GPIO_SPEED_FREQ_VERY_HIGH;
  GPIO_InitStruct.Alternate = GPIO_AF5_SPI2;
  HAL_GPIO_Init(PMOD_SPI2_SCK_GPIO_Port, &GPIO_InitStruct);

  /*Configure GPIO pins : PMOD_UART2_CTS_Pin PMOD_UART2_RTS_Pin PMOD_UART2_TX_Pin PMOD_UART2_RX_Pin */
  GPIO_InitStruct.Pin = PMOD_UART2_CTS_Pin|PMOD_UART2_RTS_Pin|PMOD_UART2_TX_Pin|PMOD_UART2_RX_Pin;
  GPIO_InitStruct.Mode = GPIO_MODE_AF_PP;
  GPIO_InitStruct.Pull = GPIO_NOPULL;
  GPIO_InitStruct.Speed = GPIO_SPEED_FREQ_VERY_HIGH;
  GPIO_InitStruct.Alternate = GPIO_AF7_USART2;
  HAL_GPIO_Init(GPIOD, &GPIO_InitStruct);

  /*Configure GPIO pins : ARD_D15_Pin ARD_D14_Pin */
  GPIO_InitStruct.Pin = ARD_D15_Pin|ARD_D14_Pin;
  GPIO_InitStruct.Mode = GPIO_MODE_AF_OD;
  GPIO_InitStruct.Pull = GPIO_NOPULL;
  GPIO_InitStruct.Speed = GPIO_SPEED_FREQ_VERY_HIGH;
  GPIO_InitStruct.Alternate = GPIO_AF4_I2C1;
  HAL_GPIO_Init(GPIOB, &GPIO_InitStruct);

  /* EXTI interrupt init*/
  HAL_NVIC_SetPriority(EXTI9_5_IRQn, 0, 0);
  HAL_NVIC_EnableIRQ(EXTI9_5_IRQn);

  HAL_NVIC_SetPriority(EXTI15_10_IRQn, 0, 0);
  HAL_NVIC_EnableIRQ(EXTI15_10_IRQn);

}

void Error_Handler(void)
{
  __disable_irq();
  while (1)
  {
  }
}
